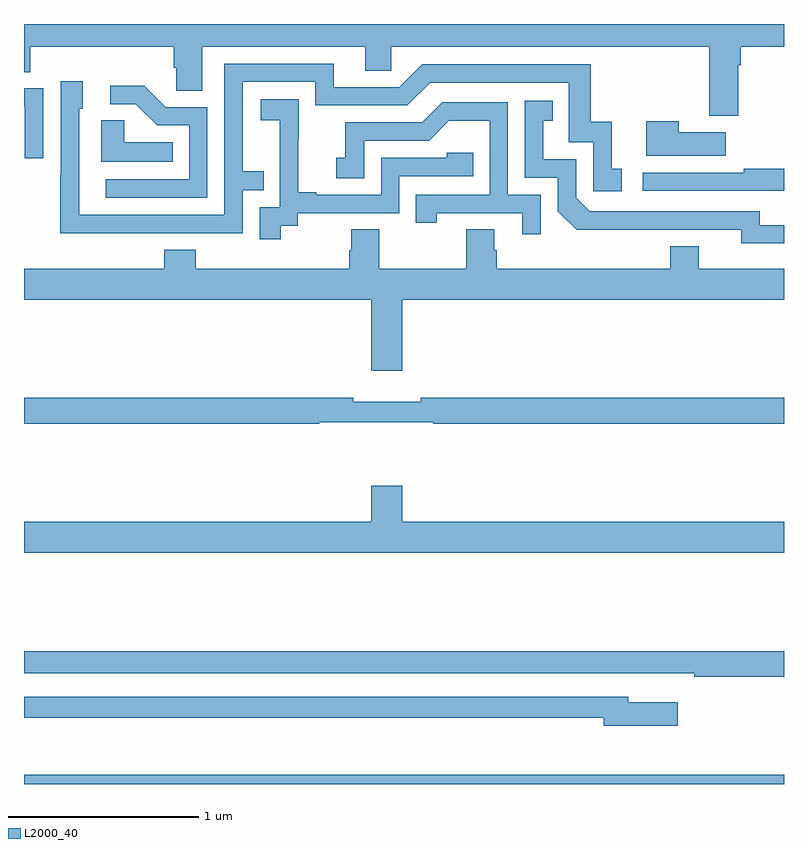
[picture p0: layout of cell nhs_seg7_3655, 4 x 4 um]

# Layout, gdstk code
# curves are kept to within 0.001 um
import gdstk
lib = gdstk.Library(unit=1e-6, precision=1e-09)
def R(c, l, rs):  # rectangles x0, y0, x1, y1
    for r in rs: c.add(gdstk.rectangle(r[:2], r[2:], *l))
def P(c, l, *ps):  # polygons
    for p in ps: c.add(gdstk.Polygon(p, *l))
L2000_40 = (2000, 40)

nhs_seg7_3655 = lib.new_cell('nhs_seg7_3655')
R(nhs_seg7_3655, L2000_40, [(343,1066,347,1066.048)])
P(nhs_seg7_3655, L2000_40, [(346.759,1069.784),(346.772,1069.784),(346.772,1069.88),(347,1069.88),(347,1070),(343,1070),(343,1069.747),(343.034,1069.747),(343.034,1069.88),(343.787,1069.88),(343.787,1069.771),(343.8,1069.771),(343.8,1069.648),(343.939,1069.648),(343.939,1069.88),(344.795,1069.88),(344.795,1069.753),(344.934,1069.753),(344.934,1069.88),(346.607,1069.88),(346.607,1069.518),(346.759,1069.518)],
  [(343.655,1068.9),(344.151,1068.9),(344.151,1069.125),(344.261,1069.125),(344.261,1069.226),(344.151,1069.226),(344.151,1069.695),(344.532,1069.695),(344.532,1069.572),(345.018,1069.572),(345.138,1069.692),(345.867,1069.692),(345.867,1069.377),(345.996,1069.377),(345.996,1069.119),(346.147,1069.119),(346.147,1069.239),(346.094,1069.239),(346.094,1069.486),(345.983,1069.486),(345.983,1069.788),(345.096,1069.788),(344.976,1069.668),(344.629,1069.668),(344.629,1069.791),(344.055,1069.791),(344.055,1068.996),(343.29,1068.996),(343.29,1069.554),(343.309,1069.554),(343.309,1069.699),(343.194,1069.699),(343.194,1069.205),(343.192,1069.205),(343.192,1068.899)],
  [(343.965,1069.563),(343.746,1069.563),(343.633,1069.676),(343.455,1069.676),(343.455,1069.578),(343.589,1069.578),(343.7,1069.467),(343.869,1069.467),(343.869,1069.182),(343.431,1069.182),(343.431,1069.086),(343.965,1069.086)],
  [(343.101,1069.662),(343,1069.662),(343,1069.566),(343.005,1069.566),(343.005,1069.293),(343.101,1069.293)],
  [(344.35,1068.937),(344.442,1068.937),(344.442,1069.005),(344.976,1069.005),(344.976,1069.2),(345.365,1069.2),(345.365,1069.323),(345.225,1069.323),(345.225,1069.296),(344.88,1069.296),(344.88,1069.101),(344.539,1069.101),(344.539,1069.114),(344.444,1069.114),(344.444,1069.397),(344.445,1069.397),(344.445,1069.603),(344.247,1069.603),(344.247,1069.493),(344.345,1069.493),(344.345,1069.265),(344.346,1069.265),(344.346,1069.035),(344.241,1069.035),(344.241,1068.867),(344.35,1068.867)],
  [(347,1068.942),(346.872,1068.942),(346.872,1069.014),(345.978,1069.014),(345.906,1069.086),(345.906,1069.287),(345.733,1069.287),(345.733,1069.491),(345.782,1069.491),(345.782,1069.597),(345.636,1069.597),(345.636,1069.191),(345.81,1069.191),(345.81,1069.014),(345.908,1068.917),(346.776,1068.918),(346.776,1068.845),(347,1068.845)],
  [(345.172,1068.954),(345.172,1069.005),(345.623,1069.005),(345.623,1068.894),(345.72,1068.894),(345.72,1069.101),(345.546,1069.101),(345.546,1069.587),(345.2,1069.587),(345.095,1069.482),(344.692,1069.482),(344.692,1069.297),(344.643,1069.297),(344.643,1069.188),(344.79,1069.188),(344.79,1069.386),(345.132,1069.386),(345.236,1069.49),(345.45,1069.49),(345.45,1069.101),(345.061,1069.101),(345.061,1068.954)],
  [(343.784,1069.378),(343.527,1069.378),(343.527,1069.493),(343.406,1069.493),(343.406,1069.274),(343.784,1069.274)],
  [(346.693,1069.429),(346.445,1069.429),(346.445,1069.489),(346.274,1069.489),(346.274,1069.307),(346.693,1069.307)],
  [(347,1069.238),(346.789,1069.238),(346.789,1069.218),(346.257,1069.218),(346.257,1069.122),(347,1069.122)],
  [(344.992,1068.548),(347,1068.548),(347,1068.712),(346.552,1068.712),(346.552,1068.829),(346.4,1068.829),(346.4,1068.712),(345.488,1068.712),(345.488,1068.81),(345.475,1068.81),(345.475,1068.92),(345.328,1068.92),(345.328,1068.712),(344.871,1068.712),(344.871,1068.92),(344.723,1068.92),(344.723,1068.81),(344.711,1068.81),(344.711,1068.712),(343.904,1068.712),(343.904,1068.811),(343.739,1068.811),(343.739,1068.712),(343,1068.712),(343,1068.548),(344.828,1068.548),(344.828,1068.174),(344.992,1068.174)],
  [(344.554,1067.904),(345.154,1067.904),(345.154,1067.896),(347,1067.896),(347,1068.032),(345.088,1068.032),(345.088,1068.013),(344.732,1068.013),(344.732,1068.032),(343,1068.032),(343,1067.896),(344.554,1067.896)],
  [(347,1067.38),(344.992,1067.38),(344.992,1067.569),(344.828,1067.569),(344.828,1067.38),(343,1067.38),(343,1067.216),(347,1067.216)],
  [(347,1066.7),(343,1066.7),(343,1066.584),(346.276,1066.584),(346.276,1066.583),(346.528,1066.583),(346.528,1066.564),(347,1066.564)],
  [(346.441,1066.429),(346.18,1066.429),(346.18,1066.458),(343,1066.458),(343,1066.35),(346.052,1066.35),(346.052,1066.307),(346.441,1066.307)])

lib.write_gds('nhs_seg7_3655.gds')
